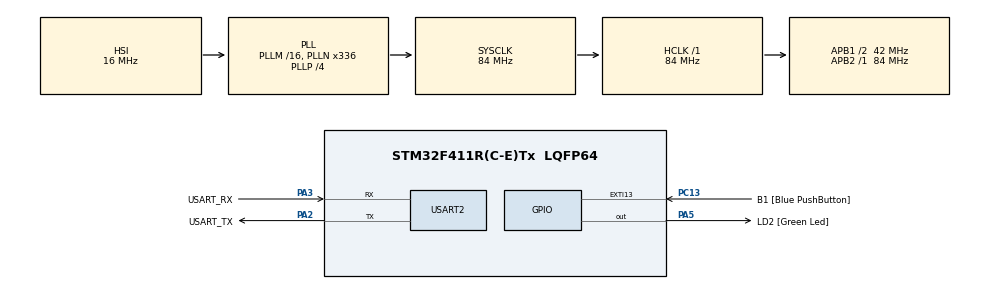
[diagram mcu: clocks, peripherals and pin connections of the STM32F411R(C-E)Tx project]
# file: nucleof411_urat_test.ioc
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Mcu.Family=STM32F4
Mcu.Name=STM32F411R(C-E)Tx
Mcu.Package=LQFP64
NVIC.PriorityGroup=NVIC_PRIORITYGROUP_0
NVIC.TIM2_IRQn=true\:0\:0\:false\:false\:true\:true\:true\:true
NVIC.USART2_IRQn=true\:0\:0\:false\:false\:true\:true\:true\:true
PA13.GPIO_Label=TMS
PA13.Mode=Serial_Wire
PA13.Signal=SYS_JTMS-SWDIO
PA14.GPIO_Label=TCK
PA14.Mode=Serial_Wire
PA14.Signal=SYS_JTCK-SWCLK
PA2.GPIO_Label=USART_TX
PA2.Mode=Asynchronous
PA2.Signal=USART2_TX
PA3.GPIO_Label=USART_RX
PA3.Mode=Asynchronous
PA3.Signal=USART2_RX
PA5.GPIO_Label=LD2 [Green Led]
PA5.Signal=GPIO_Output
PB3.GPIO_Label=SWO
PB3.Signal=SYS_JTDO-SWO
PC13-ANTI_TAMP.GPIO_Label=B1 [Blue PushButton]
PC13-ANTI_TAMP.GPIO_ModeDefaultEXTI=GPIO_MODE_IT_FALLING
PC13-ANTI_TAMP.Signal=GPXTI13
PC14-OSC32_IN.Mode=LSE-External-Oscillator
PC14-OSC32_IN.Signal=RCC_OSC32_IN
PC15-OSC32_OUT.Mode=LSE-External-Oscillator
PC15-OSC32_OUT.Signal=RCC_OSC32_OUT
PH0\ -\ OSC_IN.Mode=HSE-External-Clock-Source
PH0\ -\ OSC_IN.Signal=RCC_OSC_IN
PH1\ -\ OSC_OUT.Mode=HSE-External-Clock-Source
PH1\ -\ OSC_OUT.Signal=RCC_OSC_OUT
ProjectManager.HeapSize=0x200
ProjectManager.StackSize=0x400
ProjectManager.TargetToolchain=STM32CubeIDE
RCC.48MHZClocksFreq_Value=84000000
RCC.AHBFreq_Value=84000000
RCC.APB1CLKDivider=RCC_HCLK_DIV2
RCC.APB1Freq_Value=42000000
RCC.APB1TimFreq_Value=84000000
RCC.APB2Freq_Value=84000000
RCC.APB2TimFreq_Value=84000000
RCC.CortexFreq_Value=84000000
RCC.FLatency-AdvancedSettings=FLASH_LATENCY_2
RCC.HCLKFreq_Value=84000000
RCC.HSE_VALUE=8000000
RCC.HSI_VALUE=16000000
RCC.PLLN=336
RCC.PLLP=RCC_PLLP_DIV4
RCC.SYSCLKFreq_VALUE=84000000
RCC.SYSCLKSource=RCC_SYSCLKSOURCE_PLLCLK
RCC.VCOOutputFreq_Value=336000000
TIM2.Period=9999
TIM2.Prescaler=8399
USART2.VirtualMode=VM_ASYNC
VP_TIM2_VS_ClockSourceINT.Mode=Internal
board=NUCLEO-F411RE

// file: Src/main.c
/* USER CODE BEGIN Header */
/**
  ******************************************************************************
  * @file           : main.c
  * @brief          : Main program body
  ******************************************************************************
  * @attention
  *
  * Copyright (c) 2026 STMicroelectronics.
  * All rights reserved.
  *
  * This software is licensed under terms that can be found in the LICENSE file
  * in the root directory of this software component.
  * If no LICENSE file comes with this software, it is provided AS-IS.
  *
  ******************************************************************************
  */
/* USER CODE END Header */
#include "main.h"
#include "tim.h"
#include "usart.h"
#include "gpio.h"

/* USER CODE BEGIN PD */
#define TxBufferSize	(countof(TxBuffer) -1)
#define TxBufferSize_3	(countof(TxBuffer_3)-1)
#define RxBufferSize	0xFF
#define countof(a)		(sizeof(a)/sizeof((*a)))
/* USER CODE END PD */

void SystemClock_Config(void);
/* USER CODE BEGIN PFP */
void HAL_UART_TxCpltCallback(UART_HandleTypeDef *huart);
void HAL_UART_RxCpltCallback(UART_HandleTypeDef *huart);
void timertick_process(void);
void LED_OnOff(uint32_t);
#ifdef __GNUC__
  /* With GCC, small printf (option LD Linker->Libraries->Small printf
     set to 'Yes') calls __io_putchar() */
  #define PUTCHAR_PROTOTYPE int __io_putchar(int ch)
#else
  #define PUTCHAR_PROTOTYPE int fputc(int ch, FILE *f)
#endif /* __GNUC__ */
/* USER CODE END PFP */

/* USER CODE BEGIN 0 */
#include "stdio.h"
#include "string.h"
char aTxBuffer[1024];
int nbtime=1;
uint32_t prev_tick = 0;
uint32_t start = 0;
uint32_t cycles = 0;
uint32_t end = 0;

uint8_t TxBuffer[] = "Uart example 4";
uint8_t TxBuffer_3[] = " A Message from HAL_UART_TxCpltCallback()";
uint8_t RxBuffer[RxBufferSize];
/* USER CODE END 0 */

int main(void)
{

  /* MCU Configuration--------------------------------------------------------*/

  /* Reset of all peripherals, Initializes the Flash interface and the Systick. */
  HAL_Init();

  /* Configure the system clock */
  SystemClock_Config();

  /* Initialize all configured peripherals */
  MX_GPIO_Init();
  MX_USART2_UART_Init();
  MX_TIM2_Init();
  /* USER CODE BEGIN 2 */
  HAL_TIM_Base_Start_IT(&htim2);
  LED_OnOff(1000);

  /* USER CODE END 2 */

  /* Infinite loop */
  /* USER CODE BEGIN WHILE */

  printf("\r\n%s\r\n\r\n",TxBuffer);

  while (1)
  {
	  timertick_process();

    /* USER CODE END WHILE */

  }
}

void SystemClock_Config(void)
{
  RCC_OscInitTypeDef RCC_OscInitStruct = {0};
  RCC_ClkInitTypeDef RCC_ClkInitStruct = {0};

  /** Configure the main internal regulator output voltage
  */
  __HAL_RCC_PWR_CLK_ENABLE();
  __HAL_PWR_VOLTAGESCALING_CONFIG(PWR_REGULATOR_VOLTAGE_SCALE1);

  /** Initializes the RCC Oscillators according to the specified parameters
  * in the RCC_OscInitTypeDef structure.
  */
  RCC_OscInitStruct.OscillatorType = RCC_OSCILLATORTYPE_HSI;
  RCC_OscInitStruct.HSIState = RCC_HSI_ON;
  RCC_OscInitStruct.HSICalibrationValue = RCC_HSICALIBRATION_DEFAULT;
  RCC_OscInitStruct.PLL.PLLState = RCC_PLL_ON;
  RCC_OscInitStruct.PLL.PLLSource = RCC_PLLSOURCE_HSI;
  RCC_OscInitStruct.PLL.PLLM = 16;
  RCC_OscInitStruct.PLL.PLLN = 336;
  RCC_OscInitStruct.PLL.PLLP = RCC_PLLP_DIV4;
  RCC_OscInitStruct.PLL.PLLQ = 4;
  if (HAL_RCC_OscConfig(&RCC_OscInitStruct) != HAL_OK)
  {
    Error_Handler();
  }

  /** Initializes the CPU, AHB and APB buses clocks
  */
  RCC_ClkInitStruct.ClockType = RCC_CLOCKTYPE_HCLK|RCC_CLOCKTYPE_SYSCLK
                              |RCC_CLOCKTYPE_PCLK1|RCC_CLOCKTYPE_PCLK2;
  RCC_ClkInitStruct.SYSCLKSource = RCC_SYSCLKSOURCE_PLLCLK;
  RCC_ClkInitStruct.AHBCLKDivider = RCC_SYSCLK_DIV1;
  RCC_ClkInitStruct.APB1CLKDivider = RCC_HCLK_DIV2;
  RCC_ClkInitStruct.APB2CLKDivider = RCC_HCLK_DIV1;

  if (HAL_RCC_ClockConfig(&RCC_ClkInitStruct, FLASH_LATENCY_2) != HAL_OK)
  {
    Error_Handler();
  }
}

/* USER CODE BEGIN 4 */
volatile uint32_t timertick = 0;
uint32_t _1sec_tick = 0;
extern uint8_t state;

void HAL_TIM_PeriodElapsedCallback(TIM_HandleTypeDef *htim)
{
    if(htim->Instance == TIM2)
    {
        timertick++;   // 1초마다 증가
        if((timertick & 1000) == 0)
        {
          _1sec_tick = 1;
        }
    }
}

void timertick_process(void)
{
    if(_1sec_tick == 1)
    {
      _1sec_tick = 0;
      HAL_GPIO_TogglePin(LD2_GPIO_Port, LD2_Pin);
    }
}
void LED_OnOff(uint32_t time){
  HAL_GPIO_WritePin(LD2_GPIO_Port, LD2_Pin, GPIO_PIN_SET);
  HAL_Delay(time);
  HAL_GPIO_WritePin(LD2_GPIO_Port, LD2_Pin, GPIO_PIN_RESET);
}
PUTCHAR_PROTOTYPE
{
  /* Place your implementation of __io_putchar() here */
  /* e.g. write a character to the Tera term and Loop until the end of transmission */
  HAL_UART_Transmit(&huart2, (uint8_t *)&ch, 1, 0xFFFF);
  return ch;
}
	/*
	CoreDebug ->DEMCR |= CoreDebug_DEMCR_TRCENA_Msk;
	DWT->CTRL |= DWT_CTRL_CYCCNTENA_Msk;
	DWT->CYCCNT = 0;
	start = DWT -> CYCCNT;
	sprintf(aTxBuffer,"STM32CubeMX rocks %d times \t", ++nbtime);
	printf("%s\r\n", aTxBuffer);
	end = DWT->CYCCNT;
	cycles = end - start;
	printf("start  : %lu\t end : %lu\t cycles : %lu\r\n", start, end , cycles);
	*/

/**
  * @brief  Retargets the C library printf function to the USART2.
  * @param  None
  * @retval None
  */

void HAL_UART_TxCpltCallback(UART_HandleTypeDef *huart){
	// non blocking mode(Transmit)
	printf("\r\n%s\r\n\r\n", TxBuffer_3);

}
void HAL_UART_RxCpltCallback(UART_HandleTypeDef *huart){
	printf("HAL_UART_RxCpltCallback function was called\r\n");
	HAL_UART_Receive_IT(&huart2, (uint8_t*) RxBuffer, 1);
}
/* USER CODE END 4 */

void Error_Handler(void)
{
  __disable_irq();
  while (1)
  {
  }
}
